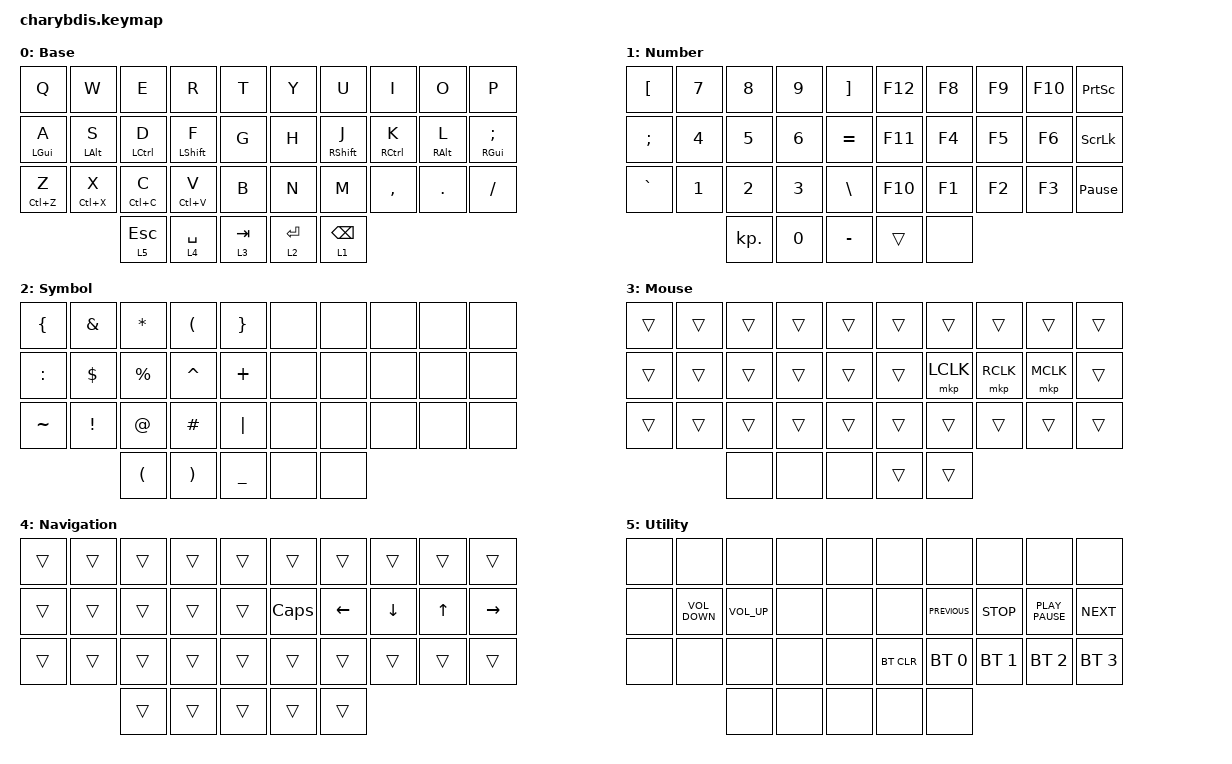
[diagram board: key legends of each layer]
#include <behaviors.dtsi>
#include <dt-bindings/zmk/bt.h>
#include <dt-bindings/zmk/keys.h>
#include <dt-bindings/zmk/pointing.h>
#include <dt-bindings/zmk/rgb.h>

&lt {
    tapping-term-ms = <200>;
    flavor = "balanced";
    quick-tap-ms = <150>;
};

/ {
    macros {
        To1_macro: To1_macro {
            compatible = "zmk,behavior-macro";
            label = "To1_macro";
            #binding-cells = <0>;
            bindings = <&rgb_ug RGB_EFF &rgb_ug RGB_COLOR_HSB(128,100,50) &to 0>;
        };

        To0_macro: To0_macro {
            compatible = "zmk,behavior-macro";
            label = "To0_macro";
            #binding-cells = <0>;
            bindings = <&rgb_ug RGB_EFR &to 0>;
        };

        To2_macro: To2_macro {
            compatible = "zmk,behavior-macro";
            label = "To2_macro";
            #binding-cells = <0>;
            bindings =
                <&to 0>,
                <&macro_wait_time 30>,
                <&rgb_ug RGB_COLOR_HSB(250,100,50)>;
        };
    };

    behaviors {
        hm: homerow_mods {
            compatible = "zmk,behavior-hold-tap";
            label = "homerow_mods";
            bindings = <&kp>, <&kp>;

            #binding-cells = <2>;
            tapping-term-ms = <200>;
            flavor = "tap-preferred";
        };
    };

    keymap {
        compatible = "zmk,keymap";

        Base {
            bindings = <
&kp Q           &kp W           &kp E               &kp R             &kp T        &kp Y        &kp U              &kp I                &kp O            &kp P
&hm LEFT_GUI A  &hm LEFT_ALT S  &hm LEFT_CONTROL D  &hm LEFT_SHIFT F  &kp G        &kp H        &hm RIGHT_SHIFT J  &hm RIGHT_CONTROL K  &hm RIGHT_ALT L  &hm RIGHT_GUI SEMICOLON
&mt LC(Z) Z     &mt LC(X) X     &mt LC(C) C         &mt LC(V) V       &kp B        &kp N        &kp M              &kp COMMA            &kp DOT          &kp FSLH
                                &lt 5 ESCAPE        &lt 4 SPACE       &lt 3 TAB    &lt 2 ENTER  &lt 1 BACKSPACE
            >;
        };

        Number {
            bindings = <
&kp LBKT   &kp N7  &kp N8      &kp N9  &kp RBKT     &kp F12  &kp F8  &kp F9  &kp F10  &kp PRINTSCREEN
&kp SEMI   &kp N4  &kp N5      &kp N6  &kp EQUAL    &kp F11  &kp F4  &kp F5  &kp F6   &kp SCROLLLOCK
&kp GRAVE  &kp N1  &kp N2      &kp N3  &kp BSLH     &kp F10  &kp F1  &kp F2  &kp F3   &kp PAUSE_BREAK
                   &kp KP_DOT  &kp N0  &kp MINUS    &trans   &none
            >;
        };

        Symbol {
            bindings = <
&kp LEFT_BRACE  &kp AMPS    &kp ASTRK             &kp LEFT_PARENTHESIS   &kp RIGHT_BRACE    &none  &none  &none  &none  &none
&kp COLON       &kp DOLLAR  &kp PERCENT           &kp CARET              &kp PLUS           &none  &none  &none  &none  &none
&kp TILDE       &kp EXCL    &kp AT                &kp POUND              &kp PIPE           &none  &none  &none  &none  &none
                            &kp LEFT_PARENTHESIS  &kp RIGHT_PARENTHESIS  &kp UNDER          &none  &none
            >;
        };

        Mouse {
            bindings = <
&trans  &trans  &trans  &trans  &trans    &trans  &trans     &trans     &trans     &trans
&trans  &trans  &trans  &trans  &trans    &trans  &mkp LCLK  &mkp RCLK  &mkp MCLK  &trans
&trans  &trans  &trans  &trans  &trans    &trans  &trans     &trans     &trans     &trans
                &none   &none   &none     &trans  &trans
            >;
        };

        Navigation {
            bindings = <
&trans  &trans  &trans  &trans  &trans    &trans    &trans    &trans    &trans  &trans
&trans  &trans  &trans  &trans  &trans    &kp CAPS  &kp LEFT  &kp DOWN  &kp UP  &kp RIGHT
&trans  &trans  &trans  &trans  &trans    &trans    &trans    &trans    &trans  &trans
                &trans  &trans  &trans    &trans    &trans
            >;
        };

        Utility {
            bindings = <
&none  &none              &none            &none  &none    &none       &none           &none         &none             &none
&none  &kp K_VOLUME_DOWN  &kp K_VOLUME_UP  &none  &none    &none       &kp K_PREVIOUS  &kp K_STOP    &kp K_PLAY_PAUSE  &kp K_NEXT
&none  &none              &none            &none  &none    &bt BT_CLR  &bt BT_SEL 0    &bt BT_SEL 1  &bt BT_SEL 2      &bt BT_SEL 3
                          &none            &none  &none    &none       &none
            >;
        };

        /* layer_2 {
            bindings = <
&none  &none   &none    &none   &none         &none         &kp N1         &none         &none     &none  &none   &to 0
&none  &none   &none    &none   &none         &none         &none         &none          &rgb_ug RGB_BRD &rgb_ug RGB_BRI  &rgb_ug RGB_EFF   &rgb_ug RGB_TOG
&none  &none   &none    &none   &none         &none         &none         &mkp LCLK     &mkp RCLK  &none  &none   &none
&none  &none   &none    &none   &bt BT_NXT  &bt BT_CLR    &none         &none         &none     &none  &none   &none
                                   &none         &none         &none         &none         &none
                                                 &none         &none         &none
            >;
       
            
        };

       Mouse {
            bindings = <
&none        &none         &none         &none         &none      &none         &none       &none      &none         &none         &none         &none
&none        &bt BT_SEL 0  &bt BT_SEL 1  &bt BT_SEL 3  &none      &bt BT_CLR    &bt BT_CLR  &none      &bt BT_SEL 2  &bt BT_SEL 1  &bt BT_SEL 0  &none
&none        &trans        &trans        &mkp MCLK     &trans     &none         &none       &trans     &mkp MCLK     &trans        &trans        &none
&bootloader  &trans        &mkp RCLK     &mo 4         &mkp LCLK  &mo 5         &mo 5       &mkp LCLK  &mo 4         &mkp RCLK     &trans        &bootloader
                                         &mo 5         &mkp LCLK  &mkp RCLK     &mkp RCLK   &mkp LCLK
                                                       &none      &trans        &trans
            >;

            
        };

        layer_4 {
            bindings = <
&trans  &trans  &trans     &trans     &trans     &trans       &trans     &trans     &trans     &trans     &trans  &trans
&trans  &trans  &trans     &trans     &trans     &trans       &trans     &trans     &trans     &trans     &trans  &trans
&trans  &trans  &trans     &mkp MCLK  &trans     &trans       &trans     &trans     &mkp MCLK  &trans     &trans  &trans
&trans  &trans  &mkp RCLK  &trans     &mkp LCLK  &trans       &trans     &mkp LCLK  &trans     &mkp RCLK  &trans  &trans
                           &trans     &mkp LCLK  &mkp RCLK    &mkp RCLK  &mkp LCLK
                                      &trans     &trans       &trans
            >;
                
                
               
        };

        layer_5 {
            bindings = <
&trans  &trans  &trans     &trans     &trans     &trans       &trans     &trans     &trans     &trans     &trans  &trans
&trans  &trans  &trans     &trans     &trans     &trans       &trans     &trans     &trans     &trans     &trans  &trans
&trans  &trans  &trans     &mkp MCLK  &trans     &trans       &trans     &trans     &mkp MCLK  &trans     &trans  &trans
&trans  &trans  &mkp RCLK  &trans     &mkp LCLK  &trans       &trans     &mkp LCLK  &trans     &mkp RCLK  &trans  &trans
                           &trans     &mkp LCLK  &mkp RCLK    &mkp RCLK  &mkp LCLK
                                      &trans     &trans       &trans
            >;
                
                
        };*/
    };
};
